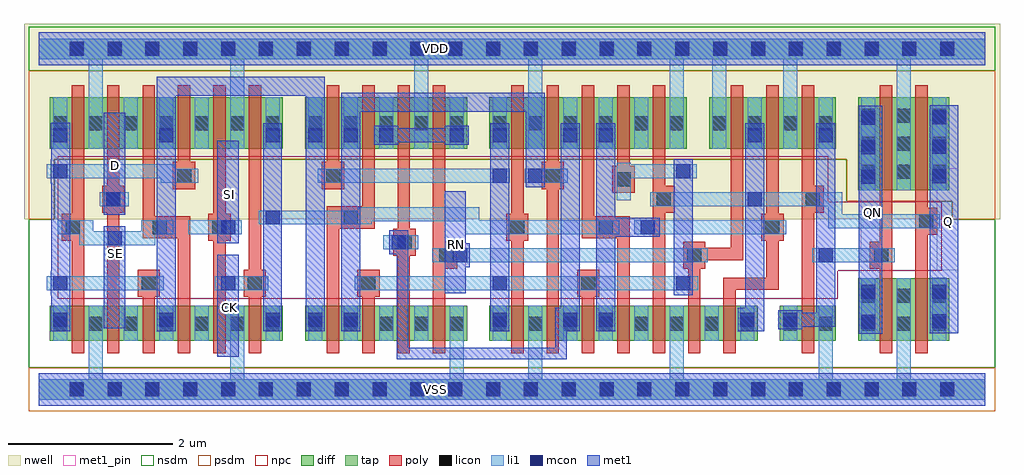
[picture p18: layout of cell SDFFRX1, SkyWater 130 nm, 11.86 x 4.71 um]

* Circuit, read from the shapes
.subckt SDFFRX1 CK D Q QN RN SE SI VDD VSS
XM1 VSS SE n1 VSS sky130_fd_pr__nfet_01v8 w=0.425 l=0.15
XM2 n2 D VSS VSS sky130_fd_pr__nfet_01v8 w=0.425 l=0.15
XM3 n3 n1 n2 VSS sky130_fd_pr__nfet_01v8 w=0.425 l=0.15
XM4 n4 SE n3 VSS sky130_fd_pr__nfet_01v8 w=0.425 l=0.15
XM5 VSS SI n4 VSS sky130_fd_pr__nfet_01v8 w=0.425 l=0.15
XM6 n5 CK VSS VSS sky130_fd_pr__nfet_01v8 w=0.425 l=0.15
XM7 n6 n5 n3 VSS sky130_fd_pr__nfet_01v8 w=0.425 l=0.15
XM8 n7 n8 n6 VSS sky130_fd_pr__nfet_01v8 w=0.425 l=0.15
XM9 n9 n10 n7 VSS sky130_fd_pr__nfet_01v8 w=0.425 l=0.15
XM10 VSS RN n9 VSS sky130_fd_pr__nfet_01v8 w=0.425 l=0.15
XM11 VSS n5 n8 VSS sky130_fd_pr__nfet_01v8 w=0.425 l=0.15
XM12 n10 n6 VSS VSS sky130_fd_pr__nfet_01v8 w=0.425 l=0.15
XM13 n11 n8 n10 VSS sky130_fd_pr__nfet_01v8 w=0.425 l=0.15
XM14 n12 n5 n11 VSS sky130_fd_pr__nfet_01v8 w=0.425 l=0.15
XM15 VSS n13 n12 VSS sky130_fd_pr__nfet_01v8 w=0.425 l=0.15
XM16 n14 RN VSS VSS sky130_fd_pr__nfet_01v8 w=0.425 l=0.15
XM17 n13 n11 n14 VSS sky130_fd_pr__nfet_01v8 w=0.425 l=0.15
XM18 VSS n13 n15 VSS sky130_fd_pr__nfet_01v8 w=0.425 l=0.15
XM19 VSS n15 QN VSS sky130_fd_pr__nfet_01v8 w=0.76 l=0.15
XM20 Q n13 VSS VSS sky130_fd_pr__nfet_01v8 w=0.76 l=0.15
XM21 VDD SE n1 VDD sky130_fd_pr__pfet_01v8 w=0.625 l=0.15
XM22 n16 D VDD VDD sky130_fd_pr__pfet_01v8 w=0.625 l=0.15
XM23 n3 SE n16 VDD sky130_fd_pr__pfet_01v8 w=0.625 l=0.15
XM24 n17 n1 n3 VDD sky130_fd_pr__pfet_01v8 w=0.625 l=0.15
XM25 VDD SI n17 VDD sky130_fd_pr__pfet_01v8 w=0.625 l=0.15
XM26 n5 CK VDD VDD sky130_fd_pr__pfet_01v8 w=0.625 l=0.15
XM27 n6 n8 n3 VDD sky130_fd_pr__pfet_01v8 w=0.625 l=0.15
XM28 n18 n5 n6 VDD sky130_fd_pr__pfet_01v8 w=0.625 l=0.15
XM29 VDD n10 n18 VDD sky130_fd_pr__pfet_01v8 w=0.625 l=0.15
XM30 n18 RN VDD VDD sky130_fd_pr__pfet_01v8 w=0.625 l=0.15
XM31 VDD n5 n8 VDD sky130_fd_pr__pfet_01v8 w=0.625 l=0.15
XM32 n10 n6 VDD VDD sky130_fd_pr__pfet_01v8 w=0.625 l=0.15
XM33 n11 n5 n10 VDD sky130_fd_pr__pfet_01v8 w=0.625 l=0.15
XM34 n19 n8 n11 VDD sky130_fd_pr__pfet_01v8 w=0.625 l=0.15
XM35 VDD n13 n19 VDD sky130_fd_pr__pfet_01v8 w=0.625 l=0.15
XM36 n13 RN VDD VDD sky130_fd_pr__pfet_01v8 w=0.625 l=0.15
XM37 VDD n11 n13 VDD sky130_fd_pr__pfet_01v8 w=0.625 l=0.15
XM38 n15 n13 VDD VDD sky130_fd_pr__pfet_01v8 w=0.625 l=0.15
XM39 VDD n15 QN VDD sky130_fd_pr__pfet_01v8 w=1.13 l=0.15
XM40 Q n13 VDD VDD sky130_fd_pr__pfet_01v8 w=1.13 l=0.15
.ends

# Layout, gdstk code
from math import pi, radians
import gdstk
lib = gdstk.Library(unit=1e-6, precision=1e-09)
def R(c, l, rs):  # rectangles x0, y0, x1, y1
    for r in rs: c.add(gdstk.rectangle(r[:2], r[2:], *l))
def A(c, l, x, y, w, h, nx, ny, dx, dy):  # array of equal rectangles
    R(c, l, [(x+i*dx, y+j*dy, x+i*dx+w, y+j*dy+h) for i in range(nx) for j in range(ny)])
def P(c, l, *ps):  # polygons
    for p in ps: c.add(gdstk.Polygon(p, *l))
nwell = (64, 20)
diff = (65, 20)
tap = (65, 44)
poly = (66, 20)
licon = (66, 44)
li1 = (67, 20)
mcon = (67, 44)
met1_pin = (68, 16)
met1 = (68, 20)
nsdm = (93, 44)
psdm = (94, 20)
npc = (95, 20)

l1m1_c_cdns_758728262103 = lib.new_cell('L1M1_C_CDNS_758728262103')
R(l1m1_c_cdns_758728262103, li1, [(-0.085,-0.165,0.085,0.165)])
R(l1m1_c_cdns_758728262103, mcon, [(-0.085,-0.085,0.085,0.085)])
R(l1m1_c_cdns_758728262103, met1, [(-0.145,-0.115,0.145,0.115)])

licondiff_c_cdns_7587282 = lib.new_cell('LICONDIFF_C_CDNS_7587282621010')
R(licondiff_c_cdns_7587282, diff, [(-0.125,-0.145,0.125,0.145)])
R(licondiff_c_cdns_7587282, licon, [(-0.085,-0.085,0.085,0.085), (-0.085,-0.085,0.085,0.085)])

l1m1_c_cdns_758728262101 = lib.new_cell('L1M1_C_CDNS_758728262101')
R(l1m1_c_cdns_758728262101, li1, [(-0.085,-0.165,0.085,0.165)])
R(l1m1_c_cdns_758728262101, mcon, [(-0.085,-0.085,0.085,0.085)])
R(l1m1_c_cdns_758728262101, met1, [(-0.115,-0.145,0.115,0.145)])

l1m1_c_cdns_758728262100 = lib.new_cell('L1M1_C_CDNS_758728262100')
R(l1m1_c_cdns_758728262100, li1, [(-0.165,-0.085,0.165,0.085)])
R(l1m1_c_cdns_758728262100, mcon, [(-0.085,-0.085,0.085,0.085)])
R(l1m1_c_cdns_758728262100, met1, [(-0.115,-0.145,0.115,0.145)])

c_l1m1_c_cdns_758728262101 = lib.new_cell('L1M1_C_CDNS_7587282621019')
R(c_l1m1_c_cdns_758728262101, li1, [(-0.125,-0.085,0.125,0.085)])
R(c_l1m1_c_cdns_758728262101, mcon, [(-0.085,-0.085,0.085,0.085)])
R(c_l1m1_c_cdns_758728262101, met1, [(-0.115,-0.145,0.115,0.145)])

l1m1_c_cdns_758728262105 = lib.new_cell('L1M1_C_CDNS_758728262105')
R(l1m1_c_cdns_758728262105, li1, [(-0.165,-0.085,0.165,0.085)])
R(l1m1_c_cdns_758728262105, mcon, [(-0.085,-0.085,0.085,0.085)])
R(l1m1_c_cdns_758728262105, met1, [(-0.145,-0.115,0.145,0.115)])

pyl1con_c_cdns_758728262 = lib.new_cell('PYL1CON_C_CDNS_758728262102')
R(pyl1con_c_cdns_758728262, poly, [(-0.135,-0.165,0.135,0.165)])
R(pyl1con_c_cdns_758728262, licon, [(-0.085,-0.085,0.085,0.085)])
R(pyl1con_c_cdns_758728262, npc, [(-0.185,-0.185,0.185,0.185)])

c_pyl1con_c_cdns_758728262 = lib.new_cell('PYL1CON_C_CDNS_7587282621020')
R(c_pyl1con_c_cdns_758728262, poly, [(-0.135,-0.37,0.135,0.21)])
R(c_pyl1con_c_cdns_758728262, licon, [(-0.085,-0.085,0.085,0.085)])
R(c_pyl1con_c_cdns_758728262, npc, [(-0.185,-0.185,0.185,0.185)])

c_pyl1con_c_cdns_758728262_ = lib.new_cell('PYL1CON_C_CDNS_7587282621017')
R(c_pyl1con_c_cdns_758728262_, poly, [(-0.135,-0.29,0.135,0.29)])
R(c_pyl1con_c_cdns_758728262_, licon, [(-0.085,-0.085,0.085,0.085)])
R(c_pyl1con_c_cdns_758728262_, npc, [(-0.185,-0.185,0.185,0.185)])

c_l1m1_c_cdns_758728262101_ = lib.new_cell('L1M1_C_CDNS_7587282621012')
R(c_l1m1_c_cdns_758728262101_, li1, [(-0.085,-0.525,0.085,0.525)])
A(c_l1m1_c_cdns_758728262101_, mcon, -0.085, -0.445, 0.17, 0.17, 1, 3, 0, 0.36)
R(c_l1m1_c_cdns_758728262101_, met1, [(-0.115,-0.505,0.115,0.505)])

l1m1_c_cdns_758728262106 = lib.new_cell('L1M1_C_CDNS_758728262106')
R(l1m1_c_cdns_758728262106, li1, [(-0.085,-0.085,0.085,0.085)])
R(l1m1_c_cdns_758728262106, mcon, [(-0.085,-0.085,0.085,0.085)])
R(l1m1_c_cdns_758728262106, met1, [(-0.115,-0.145,0.115,0.145)])

l1m1_c_cdns_758728262104 = lib.new_cell('L1M1_C_CDNS_758728262104')
R(l1m1_c_cdns_758728262104, li1, [(-0.085,-0.345,0.085,0.345)])
R(l1m1_c_cdns_758728262104, mcon, [(-0.085,-0.265,0.085,-0.095), (-0.085,0.095,0.085,0.265)])
R(l1m1_c_cdns_758728262104, met1, [(-0.115,-0.325,0.115,0.325)])

sdffrx1 = lib.new_cell('SDFFRX1')
R(sdffrx1, nwell, [(-0.18,2.07,11.68,4.445)])
R(sdffrx1, diff, [(0.135,0.59,2.965,1.015), (3.235,0.59,5.205,1.015), (5.475,0.59,8.735,1.015), (9.005,0.59,9.685,1.015), (9.955,0.59,11.065,1.35), (9.955,2.42,11.065,3.55), (0.135,2.925,2.965,3.55), (3.235,2.925,5.205,3.55), (5.475,2.925,7.875,3.55), (8.145,2.925,9.685,3.55)])
A(sdffrx1, poly, 1.26, 0.44, 0.15, 0.725, 3, 1, 2.67, 0)
R(sdffrx1, poly, [(0.4,0.44,0.55,3.7), (0.83,0.44,0.98,3.7), (2.12,0.44,2.27,3.7), (2.55,0.44,2.7,3.7), (4.36,0.44,4.51,3.7), (4.79,0.44,4.94,3.7), (5.74,0.44,5.89,3.7), (6.17,0.44,6.32,3.7), (7.46,0.44,7.61,3.7), (9.27,0.44,9.42,3.7), (10.22,0.44,10.37,3.7), (10.65,0.44,10.8,3.7), (7.03,2.705,7.18,3.7), (3.5,2.725,3.65,3.7), (1.69,2.755,1.84,3.7)])
P(sdffrx1, poly, [(1.84,2.045),(1.41,2.045),(1.41,3.7),(1.26,3.7),(1.26,1.895),(1.69,1.895),(1.69,0.44),(1.84,0.44)],
  [(4.08,3.7),(3.93,3.7),(3.93,2.165),(3.5,2.165),(3.5,0.44),(3.65,0.44),(3.65,2.015),(4.08,2.015)],
  [(7.18,2.045),(6.75,2.045),(6.75,3.7),(6.6,3.7),(6.6,1.895),(7.03,1.895),(7.03,0.44),(7.18,0.44)],
  [(8.56,3.7),(8.41,3.7),(8.41,1.72),(7.89,1.72),(7.89,0.44),(8.04,0.44),(8.04,1.57),(8.56,1.57)],
  [(8.99,3.7),(8.84,3.7),(8.84,1.36),(8.32,1.36),(8.32,0.44),(8.47,0.44),(8.47,1.21),(8.99,1.21)])
A(sdffrx1, licon, 0.375, -0.085, 0.17, 0.17, 24, 2, 0.46, 4.14)
A(sdffrx1, licon, 0.175, 0.715, 0.17, 0.17, 7, 1, 0.43, 0)
A(sdffrx1, licon, 3.275, 0.715, 0.17, 0.17, 5, 2, 0.43, 2.435)
A(sdffrx1, licon, 5.515, 0.715, 0.17, 0.17, 6, 1, 0.43, 0)
A(sdffrx1, licon, 9.995, 0.715, 0.17, 0.17, 3, 2, 0.43, 0.34)
A(sdffrx1, licon, 9.995, 2.56, 0.17, 0.17, 3, 3, 0.43, 0.34)
A(sdffrx1, licon, 0.605, 3.15, 0.17, 0.17, 3, 1, 0.86, 0)
A(sdffrx1, licon, 5.515, 3.15, 0.17, 0.17, 4, 1, 0.43, 0)
A(sdffrx1, licon, 8.185, 3.15, 0.17, 0.17, 4, 1, 0.43, 0)
R(sdffrx1, licon, [(8.525,0.715,8.695,0.885), (9.045,0.715,9.215,0.885), (9.475,0.715,9.645,0.885), (0.175,3.15,0.345,3.32), (2.755,3.15,2.925,3.32), (7.665,3.15,7.835,3.32)])
A(sdffrx1, li1, 1.035, 0.59, 0.17, 0.425, 3, 1, 0.43, 0)
A(sdffrx1, li1, 3.275, 0.59, 0.17, 0.425, 4, 1, 0.43, 0)
A(sdffrx1, li1, 6.375, 0.59, 0.17, 0.425, 3, 1, 0.43, 0)
A(sdffrx1, li1, 0.175, 2.925, 0.17, 0.625, 3, 1, 1.29, 0)
A(sdffrx1, li1, 3.275, 2.925, 0.17, 0.625, 3, 1, 0.43, 0)
R(sdffrx1, li1, [(0.175,0.59,0.345,1.015), (2.755,0.59,2.925,1.015), (5.515,0.59,5.685,1.015), (8.525,0.59,8.695,1.015), (9.045,0.59,9.215,1.015), (9.995,0.59,10.165,1.35), (10.855,0.59,11.025,1.35), (9.995,2.42,10.165,3.55), (10.855,2.42,11.025,3.55), (4.995,2.925,5.165,3.55), (5.515,2.925,5.685,3.55), (6.375,2.925,6.545,3.55), (6.805,2.925,6.975,3.55), (8.615,2.925,8.785,3.55), (9.475,2.925,9.645,3.55)])
P(sdffrx1, li1, [(1.935,2.685),(1.65,2.685),(1.65,2.735),(0.095,2.735),(0.095,2.565),(1.48,2.565),(1.48,2.515),(1.935,2.515)],
  [(7.055,2.055),(5.35,2.055),(5.35,2.215),(3.875,2.215),(3.875,2.175),(2.675,2.175),(2.675,2.005),(4.045,2.005),(4.045,2.045),(5.18,2.045),(5.18,1.885),(7.055,1.885)],
  [(7.98,2.735),(7.19,2.735),(7.19,2.755),(7.02,2.755),(7.02,2.3),(7.19,2.3),(7.19,2.565),(7.98,2.565)],
  [(10.95,2.13),(9.765,2.13),(9.765,2.395),(7.43,2.395),(7.43,2.225),(9.595,2.225),(9.595,1.96),(10.95,1.96)],
  [(11.5,4.265),(0,4.265),(0,4.015),(0.605,4.015),(0.605,2.925),(0.775,2.925),(0.775,4.015),(2.325,4.015),(2.325,2.925),(2.495,2.925),(2.495,4.015),(4.565,4.015),(4.565,2.925),(4.735,2.925),(4.735,4.015),(5.945,4.015),(5.945,2.925),(6.115,2.925),(6.115,4.015),(7.665,4.015),(7.665,2.925),(7.835,2.925),(7.835,4.015),(8.185,4.015),(8.185,2.925),(8.355,2.925),(8.355,4.015),(9.045,4.015),(9.045,2.925),(9.215,2.925),(9.215,4.015),(10.425,4.015),(10.425,2.42),(10.595,2.42),(10.595,4.015),(11.5,4.015)],
  [(11.5,0.125),(10.595,0.125),(10.595,1.35),(10.425,1.35),(10.425,0.125),(9.645,0.125),(9.645,1.015),(9.475,1.015),(9.475,0.125),(7.835,0.125),(7.835,1.015),(7.665,1.015),(7.665,0.125),(6.115,0.125),(6.115,1.015),(5.945,1.015),(5.945,0.125),(5.165,0.125),(5.165,1.015),(4.995,1.015),(4.995,0.125),(2.495,0.125),(2.495,1.015),(2.325,1.015),(2.325,0.125),(0.775,0.125),(0.775,1.015),(0.605,1.015),(0.605,0.125),(0,0.125),(0,-0.125),(11.5,-0.125)])
A(sdffrx1, mcon, 0.375, -0.085, 0.17, 0.17, 24, 2, 0.46, 4.14)
R(sdffrx1, met1_pin, [(2.17,0.4,2.43,1.64), (0.79,0.745,1.05,1.985), (4.93,1.17,5.19,2.41), (10.91,1.45,11.17,2.69), (9.99,1.56,10.25,2.8), (2.17,1.78,2.43,3.02), (0.79,2.125,1.05,3.365)])
R(sdffrx1, met1, [(9.965,0.68,10.25,3.45)])
P(sdffrx1, met1, [(6.575,3.235),(6.345,3.235),(6.345,0.995),(6.275,0.995),(6.275,0.505),(4.49,0.505),(4.49,1.655),(4.35,1.655),(4.35,0.365),(6.415,0.365),(6.415,0.705),(6.575,0.705)],
  [(7.545,2.085),(7.005,2.085),(7.005,3.235),(6.775,3.235),(6.775,0.705),(7.005,0.705),(7.005,1.855),(7.545,1.855)],
  [(9.68,3.235),(9.45,3.235),(9.45,0.935),(9.13,0.935),(9.13,0.765),(9.68,0.765)],
  [(11.17,3.455),(10.825,3.455),(10.825,0.69),(10.91,0.69),(10.91,0.685),(11.17,0.685)])
R(sdffrx1, nsdm, [(-0.125,3.875,11.625,4.405)])
P(sdffrx1, nsdm, [(11.625,2.07),(11.1,2.07),(11.1,2.29),(9.815,2.29),(9.815,2.795),(0.19,2.795),(0.19,2.07),(-0.125,2.07),(-0.125,0.265),(11.625,0.265)])
R(sdffrx1, psdm, [(-0.125,-0.265,11.625,0.265)])
P(sdffrx1, psdm, [(11.625,3.875),(-0.125,3.875),(-0.125,2.07),(0.19,2.07),(0.19,2.795),(9.815,2.795),(9.815,2.29),(11.1,2.29),(11.1,2.07),(11.625,2.07)])
P(sdffrx1, npc, [(10.97,2.28),(9.59,2.28),(9.59,2.835),(0.23,2.835),(0.23,1.105),(9.71,1.105),(9.71,1.445),(10.97,1.445)])
sdffrx1.add(gdstk.FlexPath([(0.23,1.97),(0.575,1.97),(0.575,1.84),(1.33,1.84),(1.33,1.97),(1.635,1.97)], 0.17, ends="flush", simple_path=True, layer=67, datatype=20))  # li1
sdffrx1.add(gdstk.FlexPath([(1.09,2.31),(0.74,2.31)], 0.17, ends="flush", simple_path=True, layer=67, datatype=20))  # li1
sdffrx1.add(gdstk.FlexPath([(0.095,1.29),(1.52,1.29)], 0.17, ends="flush", simple_path=True, layer=67, datatype=20))  # li1
sdffrx1.add(gdstk.FlexPath([(1.98,2.925),(1.98,3.55)], 0.17, ends="flush", simple_path=True, layer=67, datatype=20))  # li1
sdffrx1.add(gdstk.FlexPath([(2.79,1.29),(2.245,1.29)], 0.17, ends="flush", simple_path=True, layer=67, datatype=20))  # li1
sdffrx1.add(gdstk.FlexPath([(2.36,1.97),(1.815,1.97)], 0.17, ends="flush", simple_path=True, layer=67, datatype=20))  # li1
sdffrx1.add(gdstk.FlexPath([(9.42,1.63),(10.4,1.63)], 0.17, ends="flush", simple_path=True, layer=67, datatype=20))  # li1
sdffrx1.add(gdstk.FlexPath([(1.12,2.925),(1.12,3.55)], 0.17, ends="flush", simple_path=True, layer=67, datatype=20))  # li1
sdffrx1.add(gdstk.FlexPath([(5.905,2.6),(6.43,2.6)], 0.17, ends="flush", simple_path=True, layer=67, datatype=20))  # li1
sdffrx1.add(gdstk.FlexPath([(3.39,2.6),(5.725,2.6)], 0.17, ends="flush", simple_path=True, layer=67, datatype=20))  # li1
sdffrx1.add(gdstk.FlexPath([(4.61,1.79),(4.185,1.79)], 0.17, ends="flush", simple_path=True, layer=67, datatype=20))  # li1
sdffrx1.add(gdstk.FlexPath([(7.32,2.925),(7.32,3.55)], 0.17, ends="flush", simple_path=True, layer=67, datatype=20))  # li1
sdffrx1.add(gdstk.FlexPath([(8.18,0.59),(8.18,1.015)], 0.17, ends="flush", simple_path=True, layer=67, datatype=20))  # li1
sdffrx1.add(gdstk.FlexPath([(3.84,1.29),(8.015,1.29)], 0.17, ends="flush", simple_path=True, layer=67, datatype=20))  # li1
sdffrx1.add(gdstk.FlexPath([(7.235,1.97),(9.08,1.97)], 0.17, ends="flush", simple_path=True, layer=67, datatype=20))  # li1
sdffrx1.add(gdstk.FlexPath([(4.78,1.63),(8.13,1.63)], 0.17, ends="flush", simple_path=True, layer=67, datatype=20))  # li1
sdffrx1.add(gdstk.FlexPath([(0,4.14),(11.5,4.14)], 0.4, ends="flush", simple_path=True, layer=68, datatype=20))  # met1
sdffrx1.add(gdstk.FlexPath([(1.55,0.705),(1.55,3.685),(3.36,3.685),(3.36,0.705)], 0.23, ends="flush", simple_path=True, layer=68, datatype=20))  # met1
sdffrx1.add(gdstk.FlexPath([(2.84,0.705),(2.84,3.235)], 0.23, ends="flush", simple_path=True, layer=68, datatype=20))  # met1
sdffrx1.add(gdstk.FlexPath([(0.265,0.71),(0.265,3.24)], 0.23, ends="flush", simple_path=True, layer=68, datatype=20))  # met1
sdffrx1.add(gdstk.FlexPath([(8.7,0.705),(8.7,3.235)], 0.23, ends="flush", simple_path=True, layer=68, datatype=20))  # met1
sdffrx1.add(gdstk.FlexPath([(0.92,0.745),(0.92,1.985)], 0.26, ends="flush", simple_path=True, layer=68, datatype=20))  # met1
sdffrx1.add(gdstk.FlexPath([(7.83,1.145),(7.83,2.795)], 0.23, ends="flush", simple_path=True, layer=68, datatype=20))  # met1
sdffrx1.add(gdstk.FlexPath([(0,0),(11.5,0)], 0.4, ends="flush", simple_path=True, layer=68, datatype=20))  # met1
sdffrx1.add(gdstk.FlexPath([(2.3,0.4),(2.3,1.64)], 0.26, ends="flush", simple_path=True, layer=68, datatype=20))  # met1
sdffrx1.add(gdstk.FlexPath([(2.3,1.78),(2.3,3.02)], 0.26, ends="flush", simple_path=True, layer=68, datatype=20))  # met1
sdffrx1.add(gdstk.FlexPath([(0.92,2.125),(0.92,3.365)], 0.26, ends="flush", simple_path=True, layer=68, datatype=20))  # met1
sdffrx1.add(gdstk.FlexPath([(5.06,1.17),(5.06,2.41)], 0.26, ends="flush", simple_path=True, layer=68, datatype=20))  # met1
sdffrx1.add(gdstk.FlexPath([(3.79,0.705),(3.79,3.49),(6.03,3.49),(6.03,2.475)], 0.23, ends="flush", simple_path=True, layer=68, datatype=20))  # met1
sdffrx1.add(gdstk.FlexPath([(5.6,0.705),(5.6,3.235)], 0.23, ends="flush", simple_path=True, layer=68, datatype=20))  # met1
sdffrx1.add(gdstk.FlexPath([(4.075,3.09),(5.225,3.09)], 0.17, ends="flush", simple_path=True, layer=68, datatype=20))  # met1
sdffrx1.add(gdstk.FlexPath([(0,0),(11.5,0)], 0.25, ends="flush", simple_path=True, layer=65, datatype=44))  # tap
sdffrx1.add(gdstk.FlexPath([(0,4.14),(11.5,4.14)], 0.25, ends="flush", simple_path=True, layer=65, datatype=44))  # tap
sdffrx1.add(gdstk.FlexPath([(0,4.14),(11.5,4.14)], 0.4, ends="flush", simple_path=True, layer=68, datatype=16))  # met1_pin
sdffrx1.add(gdstk.FlexPath([(0,0),(11.5,0)], 0.4, ends="flush", simple_path=True, layer=68, datatype=16))  # met1_pin
sdffrx1.add(gdstk.Reference(l1m1_c_cdns_758728262103, (9.13,0.85)))
sdffrx1.add(gdstk.Reference(l1m1_c_cdns_758728262103, (5.08,3.09)))
sdffrx1.add(gdstk.Reference(l1m1_c_cdns_758728262103, (4.22,3.09)))
sdffrx1.add(gdstk.Reference(licondiff_c_cdns_7587282, (8.18,0.8)))
sdffrx1.add(gdstk.Reference(licondiff_c_cdns_7587282, (7.32,3.235)))
sdffrx1.add(gdstk.Reference(licondiff_c_cdns_7587282, (7.32,0.8)))
sdffrx1.add(gdstk.Reference(licondiff_c_cdns_7587282, (4.65,0.8)))
sdffrx1.add(gdstk.Reference(licondiff_c_cdns_7587282, (4.22,0.8)))
sdffrx1.add(gdstk.Reference(licondiff_c_cdns_7587282, (1.98,0.8)))
sdffrx1.add(gdstk.Reference(licondiff_c_cdns_7587282, (1.98,3.235)))
sdffrx1.add(gdstk.Reference(licondiff_c_cdns_7587282, (1.12,0.8)))
sdffrx1.add(gdstk.Reference(licondiff_c_cdns_7587282, (1.12,3.235)))
sdffrx1.add(gdstk.Reference(l1m1_c_cdns_758728262101, (9.565,3.09)))
sdffrx1.add(gdstk.Reference(l1m1_c_cdns_758728262101, (8.7,3.09)))
sdffrx1.add(gdstk.Reference(l1m1_c_cdns_758728262101, (8.61,0.85)))
sdffrx1.add(gdstk.Reference(l1m1_c_cdns_758728262101, (3.36,0.85)))
sdffrx1.add(gdstk.Reference(l1m1_c_cdns_758728262101, (3.36,3.09)))
sdffrx1.add(gdstk.Reference(l1m1_c_cdns_758728262101, (6.89,0.85)))
sdffrx1.add(gdstk.Reference(l1m1_c_cdns_758728262101, (6.89,3.09)))
sdffrx1.add(gdstk.Reference(l1m1_c_cdns_758728262101, (6.46,3.09)))
sdffrx1.add(gdstk.Reference(l1m1_c_cdns_758728262101, (6.46,0.85)))
sdffrx1.add(gdstk.Reference(l1m1_c_cdns_758728262101, (5.6,3.09)))
sdffrx1.add(gdstk.Reference(l1m1_c_cdns_758728262101, (5.6,0.85)))
sdffrx1.add(gdstk.Reference(l1m1_c_cdns_758728262101, (3.79,0.85)))
sdffrx1.add(gdstk.Reference(l1m1_c_cdns_758728262101, (3.79,3.09)))
sdffrx1.add(gdstk.Reference(l1m1_c_cdns_758728262101, (2.84,3.09)))
sdffrx1.add(gdstk.Reference(l1m1_c_cdns_758728262101, (2.84,0.85)))
sdffrx1.add(gdstk.Reference(l1m1_c_cdns_758728262101, (1.55,0.85)))
sdffrx1.add(gdstk.Reference(l1m1_c_cdns_758728262101, (1.55,3.09)))
sdffrx1.add(gdstk.Reference(l1m1_c_cdns_758728262101, (0.26,0.85)))
sdffrx1.add(gdstk.Reference(l1m1_c_cdns_758728262101, (0.26,3.09)))
sdffrx1.add(gdstk.Reference(l1m1_c_cdns_758728262100, (9.565,1.63)))
sdffrx1.add(gdstk.Reference(l1m1_c_cdns_758728262100, (8.7,2.31)))
sdffrx1.add(gdstk.Reference(l1m1_c_cdns_758728262100, (7.83,2.65)))
sdffrx1.add(gdstk.Reference(l1m1_c_cdns_758728262100, (7.83,1.29)))
sdffrx1.add(gdstk.Reference(l1m1_c_cdns_758728262100, (5.6,1.29)))
sdffrx1.add(gdstk.Reference(l1m1_c_cdns_758728262100, (5.12,1.63), x_reflection=True))
sdffrx1.add(gdstk.Reference(l1m1_c_cdns_758728262100, (2.3,1.29), x_reflection=True))
sdffrx1.add(gdstk.Reference(l1m1_c_cdns_758728262100, (2.84,2.09)))
sdffrx1.add(gdstk.Reference(l1m1_c_cdns_758728262100, (2.3,1.97), x_reflection=True))
sdffrx1.add(gdstk.Reference(l1m1_c_cdns_758728262100, (0.92,1.84), x_reflection=True))
sdffrx1.add(gdstk.Reference(l1m1_c_cdns_758728262100, (0.905,2.31), x_reflection=True))
sdffrx1.add(gdstk.Reference(l1m1_c_cdns_758728262100, (0.26,2.65)))
sdffrx1.add(gdstk.Reference(l1m1_c_cdns_758728262100, (0.26,1.29)))
sdffrx1.add(gdstk.Reference(c_l1m1_c_cdns_758728262101, (6.03,2.6)))
sdffrx1.add(gdstk.Reference(c_l1m1_c_cdns_758728262101, (5.6,2.6)))
sdffrx1.add(gdstk.Reference(l1m1_c_cdns_758728262105, (7.4,1.97)))
sdffrx1.add(gdstk.Reference(pyl1con_c_cdns_758728262, (10.785,2.045), rotation=pi, x_reflection=True))
sdffrx1.add(gdstk.Reference(pyl1con_c_cdns_758728262, (10.235,1.63), rotation=pi, x_reflection=True))
sdffrx1.add(gdstk.Reference(pyl1con_c_cdns_758728262, (9.405,2.31), rotation=pi))
sdffrx1.add(gdstk.Reference(pyl1con_c_cdns_758728262, (8.915,1.97), rotation=pi, x_reflection=True))
sdffrx1.add(gdstk.Reference(pyl1con_c_cdns_758728262, (7.965,1.63), rotation=pi, x_reflection=True))
sdffrx1.add(gdstk.Reference(pyl1con_c_cdns_758728262, (7.105,2.555), rotation=pi))
sdffrx1.add(gdstk.Reference(pyl1con_c_cdns_758728262, (6.675,1.29), x_reflection=True))
sdffrx1.add(gdstk.Reference(pyl1con_c_cdns_758728262, (5.815,1.97), x_reflection=True))
sdffrx1.add(gdstk.Reference(pyl1con_c_cdns_758728262, (4.95,1.63), rotation=pi, x_reflection=True))
sdffrx1.add(gdstk.Reference(pyl1con_c_cdns_758728262, (4.445,1.79)))
sdffrx1.add(gdstk.Reference(pyl1con_c_cdns_758728262, (4.005,1.29), rotation=pi))
sdffrx1.add(gdstk.Reference(pyl1con_c_cdns_758728262, (6.245,2.6), rotation=pi))
sdffrx1.add(gdstk.Reference(pyl1con_c_cdns_758728262, (3.575,2.6), x_reflection=True))
sdffrx1.add(gdstk.Reference(pyl1con_c_cdns_758728262, (2.625,1.29), x_reflection=True))
sdffrx1.add(gdstk.Reference(pyl1con_c_cdns_758728262, (2.195,1.97), x_reflection=True))
sdffrx1.add(gdstk.Reference(pyl1con_c_cdns_758728262, (0.415,1.97)))
sdffrx1.add(gdstk.Reference(pyl1con_c_cdns_758728262, (0.905,2.31)))
sdffrx1.add(gdstk.Reference(pyl1con_c_cdns_758728262, (1.765,2.6), rotation=pi))
sdffrx1.add(gdstk.Reference(pyl1con_c_cdns_758728262, (1.335,1.29), x_reflection=True))
sdffrx1.add(gdstk.Reference(pyl1con_c_cdns_758728262, (7.595,2.31), rotation=pi, x_reflection=True))
sdffrx1.add(gdstk.Reference(c_pyl1con_c_cdns_758728262, (1.47,1.97), rotation=pi/2))
sdffrx1.add(gdstk.Reference(c_pyl1con_c_cdns_758728262_, (6.89,1.97), rotation=pi/2))
sdffrx1.add(gdstk.Reference(c_pyl1con_c_cdns_758728262_, (3.79,2.09), rotation=pi/2, x_reflection=True))
sdffrx1.add(gdstk.Reference(c_l1m1_c_cdns_758728262101_, (10.94,2.95)))
sdffrx1.add(gdstk.Reference(c_l1m1_c_cdns_758728262101_, (10.08,2.945)))
sdffrx1.add(gdstk.Reference(l1m1_c_cdns_758728262106, (4.375,1.79)))
sdffrx1.add(gdstk.Reference(l1m1_c_cdns_758728262104, (10.94,1.01)))
sdffrx1.add(gdstk.Reference(l1m1_c_cdns_758728262104, (10.08,1.005)))
sdffrx1.add(gdstk.Label('VDD', (4.825,4.145), layer=68, texttype=5))
sdffrx1.add(gdstk.Label('QN', (10.135,2.155), layer=68, texttype=5))
sdffrx1.add(gdstk.Label('VSS', (4.825,0.005), layer=68, texttype=5))
sdffrx1.add(gdstk.Label('SE', (0.935,1.65), layer=68, texttype=5))
sdffrx1.add(gdstk.Label('Q', (11.055,2.045), layer=68, texttype=5))
sdffrx1.add(gdstk.Label('RN', (5.075,1.765), layer=68, texttype=5))
sdffrx1.add(gdstk.Label('CK', (2.315,0.995), layer=68, texttype=5))
sdffrx1.add(gdstk.Label('SI', (2.315,2.375), layer=68, texttype=5))
sdffrx1.add(gdstk.Label('D', (0.935,2.72), layer=68, texttype=5))

lib.write_gds('SDFFRX1.gds')
